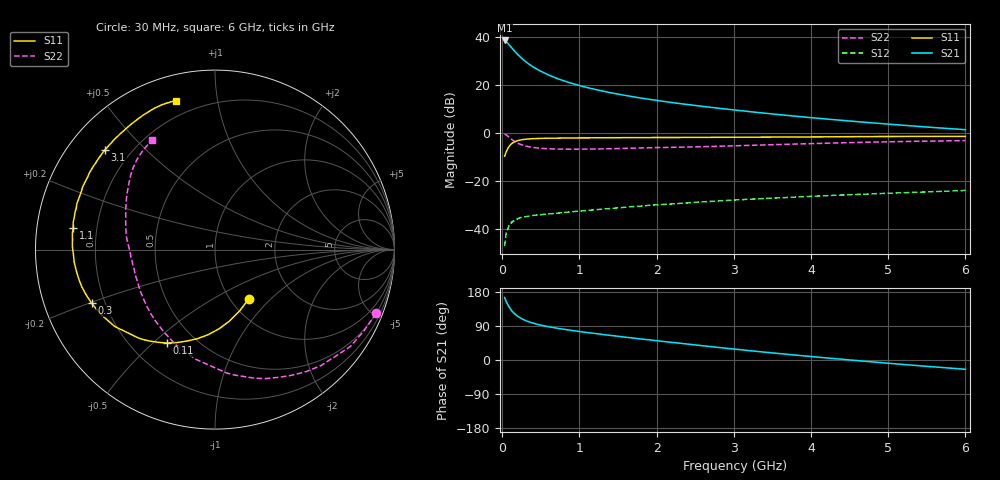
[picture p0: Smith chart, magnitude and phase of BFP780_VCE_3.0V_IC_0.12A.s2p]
! Infineon Technologies  Discrete & RF Semiconductors
! BFP780
! VCE =  3.0 V,  IC = 0.12 A
! Common Emitter S-Parameters:  Jul 2015
# GHz  S  MA  R  50
!  f  S11  S21  S12  S22
! GHz  MAG  ANG  MAG  ANG  MAG  ANG  MAG  ANG
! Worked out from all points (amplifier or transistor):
!   75 points, 30 MHz to 6 GHz, reference 50 ohm
!   highest |S21| = 38.7 dB at 30 MHz (marker M1)
!   |S21| within 3 dB of that: start of sweep to 119.9 MHz
!   unconditionally stable (mu >= 1): 1.635 GHz to end of sweep
!   at 150 MHz: K = 0.17, MSG = 35.6 dB, |S12| = -36.7 dB
!   at 2.3 GHz: K = 1.14, MAG = 18.6 dB, |S12| = -29.3 dB
!   at 6 GHz: K = 1.25, MAG = 9.6 dB, |S12| = -23.9 dB
!   S11 on the Smith chart (normalised r, x): 30 MHz: 1.22, -0.75; 110 MHz: 0.35, -0.56; 300 MHz: 0.15, -0.20; 1.1 GHz: 0.11, +0.08; 3.1 GHz: 0.11, +0.38; 6 GHz: 0.12, +0.76
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0.03  0.3322 -55.3  86.41 164.9  0.0044 68.8  0.966 -21.6
0.05  0.4061 -78.5  81.68 155.1  0.0083 60.7  0.9281 -35.5
0.07  0.4757 -94.6  75.97 146.8  0.0101 63.3  0.8749 -47.6
0.09  0.5355 -107.6  69.82 139.5  0.0124 54.7  0.8193 -58.8
0.11  0.585 -117.1  63.91 133.4  0.0128 50.7  0.772 -68.6
0.13  0.6228 -124.9  58.56 128.2  0.0139 48.1  0.7263 -77.0
0.15  0.6522 -131.1  53.71 123.9  0.0147 42.4  0.6907 -84.6
0.2  0.7042 -142.6  43.92 115.3  0.0165 35.1  0.6196 -100.2
0.25  0.732 -150.6  36.86 109.0  0.0177 31.9  0.5746 -112.1
0.3  0.7497 -156.6  31.47 104.2  0.0182 29.7  0.5409 -121.6
0.35  0.7624 -161.2  27.41 100.3  0.0187 28.9  0.5194 -129.2
0.4  0.7713 -164.7  24.25 97.2  0.0193 28.3  0.5048 -135.3
0.5  0.7801 -170.4  19.63 92.0  0.02 27.7  0.4845 -144.9
0.6  0.7875 -174.7  16.45 87.8  0.0207 27.4  0.4747 -152.1
0.8  0.7951 178.7  12.39 81.0  0.0222 28.5  0.466 -162.2
1.1  0.7997 171.2  8.99 72.5  0.0245 29.8  0.4662 -172.4
1.5  0.8068 163.4  6.559 62.6  0.0278 31.4  0.4789 178.8
2.1  0.8161 153.2  4.6 48.7  0.0328 32.2  0.5039 169.2
3.1  0.8272 137.7  2.947 26.9  0.0411 29.4  0.5526 153.8
4.1  0.8402 123.9  2.049 7.3  0.049 25.1  0.6133 140.9
5.1  0.8573 112.8  1.508 -10.2  0.0567 19.4  0.6678 129.8
6  0.8588 104.8  1.187 -24.5  0.0641 13.8  0.7035 119.8
